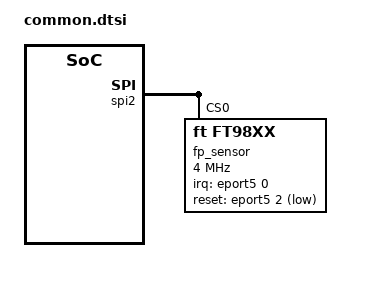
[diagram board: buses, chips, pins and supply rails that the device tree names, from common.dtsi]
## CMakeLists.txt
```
# Copyright 2025 The ChromiumOS Authors
# Use of this source code is governed by a BSD-style license that can be
# found in the LICENSE file.

zephyr_library_sources("src/ec_quirks.c")
zephyr_library_sources("src/platform.c")

if(DEFINED CONFIG_CROS_EC_RO)

add_library(config_page OBJECT src/config_page.c)
set_source_files_properties(src/config_page.c PROPERTIES
  COMPILE_OPTIONS $<TARGET_PROPERTY:compiler,prohibit_lto>
)

target_link_libraries(config_page PUBLIC zephyr_interface)
target_link_libraries(config_page PUBLIC cros_ec_interface)

add_custom_target(config_page_binary ALL
  COMMAND ${CMAKE_OBJCOPY} -Obinary --only-section .data.config_page
	$<TARGET_OBJECTS:config_page>
	${CMAKE_BINARY_DIR}/config_page.bin
  COMMENT "Generating binary with flash header"
  DEPENDS config_page
  VERBATIM
)

endif()
```

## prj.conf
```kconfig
# Copyright 2025 The ChromiumOS Authors
# Use of this source code is governed by a BSD-style license that can be
# found in the LICENSE file.

CONFIG_BOARD_FT9001=y

# The NULL pointer exception page size must be a power of two
# and have size greater or equal ARM_MPU_REGION_MIN_ALIGN_AND_SIZE
CONFIG_CORTEX_M_NULL_POINTER_EXCEPTION_PAGE_SIZE=0x80

# Peripherials
CONFIG_GPIO=y
CONFIG_PINCTRL=y
CONFIG_SPI_ASYNC=y
CONFIG_HWINFO=y
CONFIG_HWINFO_FOCALTECH=y

# Do not use partition for code, because the code locationb is different for RO and RW
CONFIG_USE_DT_CODE_PARTITION=n

#Bringup configs

# Power Management
CONFIG_PM=n
CONFIG_PM_DEVICE=n

# Logging
CONFIG_LOG_MODE_IMMEDIATE=n
CONFIG_LOG_PRINTK=n

# Shell commands
CONFIG_FLASH_SHELL=n

# MKBP
CONFIG_PLATFORM_EC_MKBP_USE_GPIO=n
CONFIG_PLATFORM_EC_MKBP_USE_USB=y

CONFIG_EC_HOST_CMD=y
# Enable USB for HC
CONFIG_UDC_DRIVER=y
CONFIG_USB_DEVICE_STACK_NEXT=y
# TODO determine a proper value
CONFIG_UDC_BUF_POOL_SIZE=2048

CONFIG_PLATFORM_EC_PANIC_STRIP_GPR=n

CONFIG_INIT_ARCH_HW_AT_BOOT=y
CONFIG_EXCEPTION_DEBUG=y
CONFIG_EXTRA_EXCEPTION_INFO=y

CONFIG_USB_DEVICE_MANUFACTURER="dawidn"
CONFIG_USB_DEVICE_PRODUCT="FPMCU"
CONFIG_USB_DEVICE_VID=0x18D1
CONFIG_USB_DEVICE_SELF_POWERED=n
CONFIG_USB_DEVICE_REMOTE_WAKEUP=y
CONFIG_USB_DEVICE_SN="0"
CONFIG_USB_DEVICE_SN_HWINFO=y
CONFIG_USB_DEVICE_MAX_POWER=250

# TODO determine a proper value
CONFIG_EC_HOST_CMD_HANDLER_RX_BUFFER_SIZE=528
CONFIG_EC_HOST_CMD_HANDLER_TX_BUFFER_SIZE=520

CONFIG_PLATFORM_EC_HOST_COMMAND_ENTER_BOOTLOADER=y
CONFIG_PLATFORM_EC_WP_CUSTOM=y

CONFIG_FP_ALGORITHM_TEMPLATE_SIZE=86016
```

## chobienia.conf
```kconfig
# Copyright 2025 The ChromiumOS Authors
# Use of this source code is governed by a BSD-style license that can be
# found in the LICENSE file.

# Template size for FT9849 sensor
CONFIG_USB_DEVICE_PID=0x5403
```

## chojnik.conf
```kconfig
# Copyright 2025 The ChromiumOS Authors
# Use of this source code is governed by a BSD-style license that can be
# found in the LICENSE file.

# Template size for FT9865 sensor
CONFIG_FP_ALGORITHM_TEMPLATE_SIZE=26624
CONFIG_USB_DEVICE_PID=0x5403
```

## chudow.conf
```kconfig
# Copyright 2025 The ChromiumOS Authors
# Use of this source code is governed by a BSD-style license that can be
# found in the LICENSE file.

# Template size for FT9869 sensor
CONFIG_USB_DEVICE_PID=0x5404
```

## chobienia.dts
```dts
/* Copyright 2025 The ChromiumOS Authors.
 * Use of this source code is governed by a BSD-style license that can be
 * found in the LICENSE file.
 */

#include "common.dtsi"

#define FT9849_COMMON_IMAGE_PROPS \
	width = <80>; \
	height = <128>; \
	bits-per-pixel = <8>; \
	frame-size = <10240>; \
	v4l2-pixel-format = "V4L2_PIX_FMT_GREY";

/ {
	chosen {
		cros-fp,fingerprint-memory-frame = &psram;
		cros-fp,fingerprint-memory-template = &psram;
	};
};

&fp_sensor {
	configs {
		compatible = "fingerprint-image-frame-params";
		config0 {
			FT9849_COMMON_IMAGE_PROPS
			capture-type = "FINGERPRINT_CAPTURE_TYPE_VENDOR_FORMAT";
		};
		config1 {
			FT9849_COMMON_IMAGE_PROPS
			capture-type = "FINGERPRINT_CAPTURE_TYPE_SIMPLE_IMAGE";
		};
		config2 {
			FT9849_COMMON_IMAGE_PROPS
			capture-type = "FINGERPRINT_CAPTURE_TYPE_PATTERN0";
		};
		config3 {
			FT9849_COMMON_IMAGE_PROPS
			capture-type = "FINGERPRINT_CAPTURE_TYPE_PATTERN1";
		};
		config4 {
			FT9849_COMMON_IMAGE_PROPS
			capture-type = "FINGERPRINT_CAPTURE_TYPE_QUALITY_TEST";
		};
		config5 {
			FT9849_COMMON_IMAGE_PROPS
			capture-type = "FINGERPRINT_CAPTURE_TYPE_RESET_TEST";
		};
	};
};
```

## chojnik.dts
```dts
/* Copyright 2025 The ChromiumOS Authors.
 * Use of this source code is governed by a BSD-style license that can be
 * found in the LICENSE file.
 */

#include "common.dtsi"

#define FT9865_COMMON_IMAGE_PROPS \
	width = <64>; \
	height = <80>; \
	bits-per-pixel = <8>; \
	frame-size = <5120>; \
	v4l2-pixel-format = "V4L2_PIX_FMT_GREY";

&fp_sensor {
	configs {
		compatible = "fingerprint-image-frame-params";
		config0 {
			FT9865_COMMON_IMAGE_PROPS
			capture-type = "FINGERPRINT_CAPTURE_TYPE_VENDOR_FORMAT";
		};
		config1 {
			FT9865_COMMON_IMAGE_PROPS
			capture-type = "FINGERPRINT_CAPTURE_TYPE_SIMPLE_IMAGE";
		};
		config2 {
			FT9865_COMMON_IMAGE_PROPS
			capture-type = "FINGERPRINT_CAPTURE_TYPE_PATTERN0";
		};
		config3 {
			FT9865_COMMON_IMAGE_PROPS
			capture-type = "FINGERPRINT_CAPTURE_TYPE_PATTERN1";
		};
		config4 {
			FT9865_COMMON_IMAGE_PROPS
			capture-type = "FINGERPRINT_CAPTURE_TYPE_QUALITY_TEST";
		};
		config5 {
			FT9865_COMMON_IMAGE_PROPS
			capture-type = "FINGERPRINT_CAPTURE_TYPE_RESET_TEST";
		};
	};
};
```

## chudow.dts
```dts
/* Copyright 2025 The ChromiumOS Authors.
 * Use of this source code is governed by a BSD-style license that can be
 * found in the LICENSE file.
 */

#include "common.dtsi"

#define FT9869_COMMON_IMAGE_PROPS \
	width = <40>; \
	height = <196>; \
	bits-per-pixel = <8>; \
	frame-size = <7840>; \
	v4l2-pixel-format = "V4L2_PIX_FMT_GREY";

/ {
	chosen {
		cros-fp,fingerprint-memory-frame = &psram;
		cros-fp,fingerprint-memory-template = &psram;
	};
};

&fp_sensor {
	configs {
		compatible = "fingerprint-image-frame-params";
		config0 {
			FT9869_COMMON_IMAGE_PROPS
			capture-type = "FINGERPRINT_CAPTURE_TYPE_VENDOR_FORMAT";
		};
		config1 {
			FT9869_COMMON_IMAGE_PROPS
			capture-type = "FINGERPRINT_CAPTURE_TYPE_SIMPLE_IMAGE";
		};
		config2 {
			FT9869_COMMON_IMAGE_PROPS
			capture-type = "FINGERPRINT_CAPTURE_TYPE_PATTERN0";
		};
		config3 {
			FT9869_COMMON_IMAGE_PROPS
			capture-type = "FINGERPRINT_CAPTURE_TYPE_PATTERN1";
		};
		config4 {
			FT9869_COMMON_IMAGE_PROPS
			capture-type = "FINGERPRINT_CAPTURE_TYPE_QUALITY_TEST";
		};
		config5 {
			FT9869_COMMON_IMAGE_PROPS
			capture-type = "FINGERPRINT_CAPTURE_TYPE_RESET_TEST";
		};
	};
};
```

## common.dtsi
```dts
/* Copyright 2025 The ChromiumOS Authors.
 * Use of this source code is governed by a BSD-style license that can be
 * found in the LICENSE file.
 */

#include <ft/ft90/common_priv.dtsi>

#include "soc.dtsi"
#include "gpio.dtsi"
#include "rwsig.dtsi"

#include <cros/integrated_fwid.dtsi>

/ {
	chosen {
		cros-fp,fingerprint-sensor = &fp_sensor;
		/* Reference the flash header not to omit it. */
		flash-header = &flash_header;
	};

	named-bbram-regions {
		compatible = "named-bbram-regions";

		scratchpad {
			offset = <0x00>;
			size = <0x02>;
		};
		saved-reset-flags {
			offset = <0x02>;
			size = <0x04>;
		};
		saved-panic-reason {
			offset = <0x06>;
			size = <0x02>;
		};
		saved-panic-info {
			offset = <0x08>;
			size = <0x02>;
		};
		saved-panic-exception {
			offset = <0x0a>;
			size = <0x02>;
		};
		saved-panic-flags {
			offset = <0x0c>;
			size = <0x02>;
		};
	};

	binman {
		/* The first 4kB of the flash is reserved for the config page */
		wp-ro {
			offset = <0x0>;
			size = <0x80000>;
			flash-header {
				offset = <0x0>;
				size = <0x1000>;
				type = "blob";
				filename = "../build-ro/config_page.bin";
				pad-byte = <0xff>;
			};
			ec-ro {
				offset = <0x1000>;
				size = <0x7f000>;
				ro-checksum {
					compatible = "cros-ec,flash-layout";
					type = "section";
					offset = <(0x7f000 - 32)>;
					size = <32>;
					pad-byte = <0xff>;
				};
				pad-byte = <0xff>;
			};
		};

		rollback0 {
			offset = <0x80000>;
			size = <0x1000>;
			type = "blob";
			filename = "../build-rw/rollback_initial_data.bin";
		};

		rollback1 {
			offset = <0x81000>;
			size = <0x1000>;
			type = "blob";
			filename = "../build-rw/rollback_initial_data.bin";
		};

		ec-rw {
			offset = <0x82000>;
			size = <0x7e000>;
			rw-fw {
				/*
				 * Clang doesn't emit STT_SECTION symbols (also
				 * called 'section symbols'), so 'rom_start'
				 * symbol is not available. Fortunately, Zephyr
				 * linker scripts provide '__rom_start_address'
				 * symbol which points to the beginning of
				 * 'rom_start' section.
				 */
				zephyr-rw {
					elf-base-sym = "__rom_start_address";
				};
			};
		};
		pad-byte = <0xff>;
	};
};

&flash0 {
	partitions {
		compatible = "fixed-partitions";
		#address-cells = <1>;
		#size-cells = <1>;

		bootloader: partition@0 {
			label = "bootloader";
			reg = <0x0 DT_SIZE_K(512)>;
		};

		rollback0: partition@100000 {
			label = "rollback0";
			reg = <0x100000 DT_SIZE_K(4)>;
		};

		rollback1: partition@101000 {
			label = "rollback1";
			reg = <0x101000 DT_SIZE_K(4)>;
		};
	};
};

&spi2 {
	fp_sensor: ft98xx@0 {
		compatible = "ft,ft98xx";
		reg = <0>;
		spi-max-frequency = <4000000>;

		irq-gpios = <&eport5 0 (GPIO_ACTIVE_HIGH | GPIO_PULL_DOWN)>;
		reset-gpios = <&eport5 2 GPIO_ACTIVE_LOW>;
	};
};
```

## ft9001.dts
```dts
/* Copyright 2025 The ChromiumOS Authors.
 * Use of this source code is governed by a BSD-style license that can be
 * found in the LICENSE file.
 */

#include "soc.dtsi"
#include "gpio.dtsi"
#include "rwsig.dtsi"

#include <cros/integrated_fwid.dtsi>

/ {
	chosen {
		cros-fp,fingerprint-sensor = &fp_sensor;
		/* Reference the flash header not to omit it. */
		flash-header = &flash_header;
	};

	named-bbram-regions {
		compatible = "named-bbram-regions";

		scratchpad {
			offset = <0x00>;
			size = <0x02>;
		};
		saved-reset-flags {
			offset = <0x02>;
			size = <0x04>;
		};
		saved-panic-reason {
			offset = <0x06>;
			size = <0x02>;
		};
		saved-panic-info {
			offset = <0x08>;
			size = <0x02>;
		};
		saved-panic-exception {
			offset = <0x0a>;
			size = <0x02>;
		};
		saved-panic-flags {
			offset = <0x0c>;
			size = <0x02>;
		};
	};

	binman {
		flash-header {
			offset = <0x0>;
			size = <0x1000>;
			type = "blob";
			filename = "../build-ro/config_page.bin";
			pad-byte = <0xff>;
		};
		/* The first 4kB of the flash is reserved for the config page */
		wp-ro {
			offset = <0x1000>;
			size = <0x7d000>;
			ec-ro {
				ro-checksum {
					compatible = "cros-ec,flash-layout";
					type = "section";
					offset = <(0x7d000 - 32)>;
					size = <32>;
					pad-byte = <0xff>;
				};
				pad-byte = <0xff>;
			};
		};

		rollback0 {
			offset = <0x7e000>;
			size = <0x1000>;
			type = "blob";
			filename = "../build-rw/rollback_initial_data.bin";
		};

		rollback1 {
			offset = <0x7f000>;
			size = <0x1000>;
			type = "blob";
			filename = "../build-rw/rollback_initial_data.bin";
		};

		ec-rw {
			offset = <0x80000>;
			size = <0x80000>;
			rw-fw {
				/*
				 * Clang doesn't emit STT_SECTION symbols (also
				 * called 'section symbols'), so 'rom_start'
				 * symbol is not available. Fortunately, Zephyr
				 * linker scripts provide '__rom_start_address'
				 * symbol which points to the beginning of
				 * 'rom_start' section.
				 */
				zephyr-rw {
					elf-base-sym = "__rom_start_address";
				};
			};
		};
		pad-byte = <0xff>;
	};
};

&flash0 {
	partitions {
		compatible = "fixed-partitions";
		#address-cells = <1>;
		#size-cells = <1>;

		rollback0: partition@7e000 {
			label = "rollback0";
			reg = <0x7e000 DT_SIZE_K(4)>;
		};

		rollback1: partition@7f000 {
			label = "rollback1";
			reg = <0x7f000 DT_SIZE_K(4)>;
		};
	};
};

&spi2 {
	fp_sensor: ft9865@0 {
		compatible = "ft,ft9865";
		reg = <0>;
		spi-max-frequency = <6000000>;

		width = <64>;
		height = <80>;
		bits-per-pixel = <8>;
		v4l2-pixel-format = "V4L2_PIX_FMT_GREY";

		irq-gpios = <&eport5 0 (GPIO_ACTIVE_HIGH | GPIO_PULL_DOWN)>;
		reset-gpios = <&eport5 2 GPIO_ACTIVE_LOW>;
	};
};
```

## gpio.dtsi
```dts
/* Copyright 2025 The ChromiumOS Authors.
 * Use of this source code is governed by a BSD-style license that can be
 * found in the LICENSE file.
 */

#include <dt-bindings/gpio_defines.h>

/ {
	named-gpios {
		compatible = "named-gpios";

		/* unimplemented GPIOs */
		entering-rw {
			enum-name = "GPIO_ENTERING_RW";
		};
	};
};
```

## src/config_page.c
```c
/* Copyright 2023 The ChromiumOS Authors
 * Use of this source code is governed by a BSD-style license that can be
 * found in the LICENSE file.
 */

#include <zephyr/toolchain.h>
#include <stdint.h>
#include <stddef.h>

struct ft_config_page {
	uint32_t code_valid_control_word; /* 0x3AEC3721 for valid code */
	uint8_t reserved_04_18[0x14];
	uint32_t config_page_verification_enable; /* 0x904E3C21 for valid code */
	uint8_t reserved_1B_20[0x4];
	uint32_t code_start_address;
	uint32_t code_length;
	uint8_t reserved_28_40[0x18];
	uint8_t code_sig[256]; /* RSA2048 code signature */
	uint8_t config_page_hash[32]; /* SHA256 of the config page */
	uint8_t reserved_160_1F4[0x94]; /* RSA2048 code signature */
	uint32_t config_page_location; /* 0x301821EF for OTP */
	uint8_t reserved_1F8_200[0x8];
} __packed;

/* TODO - move to chip code. */
struct ft_config_page config_page = {
	.code_valid_control_word = 0x3AEC3721,
	.reserved_04_18 = {0xff, 0xff, 0xff, 0xff, 0xff, 0xff, 0xff, 0xff, 0xff, 0xff, 0xff, 0xff, 0xff, 0xff, 0xff, 0xff, 0xff, 0xff, 0xff, 0xff},
	.config_page_verification_enable = 0xffffffff,
	.reserved_1B_20 = {0xff, 0xff, 0xff, 0xff},
	.code_start_address = CONFIG_FLASH_BASE_ADDRESS + CONFIG_CROS_EC_RO_MEM_OFF,
	.code_length = CONFIG_CROS_EC_RO_SIZE - 32, /* Size of RO, but without SHA256 checksum */
	.reserved_28_40 = {0xff, 0xff, 0xff, 0xff, 0xff, 0xff, 0xff, 0xff, 0xff, 0xff, 0xff, 0xff, 0xff, 0xff, 0xff, 0xff, 0xff, 0xff, 0xff, 0xff, 0xff, 0xff, 0xff, 0xff},
	.code_sig = {0xff, 0xff, 0xff, 0xff, 0xff, 0xff, 0xff, 0xff, 0xff, 0xff, 0xff, 0xff, 0xff, 0xff, 0xff, 0xff, 0xff, 0xff, 0xff, 0xff, 0xff, 0xff, 0xff, 0xff, 0xff, 0xff, 0xff, 0xff, 0xff, 0xff, 0xff, 0xff, 0xff, 0xff, 0xff, 0xff, 0xff, 0xff, 0xff, 0xff, 0xff, 0xff, 0xff, 0xff, 0xff, 0xff, 0xff, 0xff, 0xff, 0xff, 0xff, 0xff, 0xff, 0xff, 0xff, 0xff, 0xff, 0xff, 0xff, 0xff, 0xff, 0xff, 0xff, 0xff, 0xff, 0xff, 0xff, 0xff, 0xff, 0xff, 0xff, 0xff, 0xff, 0xff, 0xff, 0xff, 0xff, 0xff, 0xff, 0xff, 0xff, 0xff, 0xff, 0xff, 0xff, 0xff, 0xff, 0xff, 0xff, 0xff, 0xff, 0xff, 0xff, 0xff, 0xff, 0xff, 0xff, 0xff, 0xff, 0xff, 0xff, 0xff, 0xff, 0xff, 0xff, 0xff, 0xff, 0xff, 0xff, 0xff, 0xff, 0xff, 0xff, 0xff, 0xff, 0xff, 0xff, 0xff, 0xff, 0xff, 0xff, 0xff, 0xff, 0xff, 0xff, 0xff, 0xff, 0xff, 0xff, 0xff, 0xff, 0xff, 0xff, 0xff, 0xff, 0xff, 0xff, 0xff, 0xff, 0xff, 0xff, 0xff, 0xff, 0xff, 0xff, 0xff, 0xff, 0xff, 0xff, 0xff, 0xff, 0xff, 0xff, 0xff, 0xff, 0xff, 0xff, 0xff, 0xff, 0xff, 0xff, 0xff, 0xff, 0xff, 0xff, 0xff, 0xff, 0xff, 0xff, 0xff, 0xff, 0xff, 0xff, 0xff, 0xff, 0xff, 0xff, 0xff, 0xff, 0xff, 0xff, 0xff, 0xff, 0xff, 0xff, 0xff, 0xff, 0xff, 0xff, 0xff, 0xff, 0xff, 0xff, 0xff, 0xff, 0xff, 0xff, 0xff, 0xff, 0xff, 0xff, 0xff, 0xff, 0xff, 0xff, 0xff, 0xff, 0xff, 0xff, 0xff, 0xff, 0xff, 0xff, 0xff, 0xff, 0xff, 0xff, 0xff, 0xff, 0xff, 0xff, 0xff, 0xff, 0xff, 0xff, 0xff, 0xff, 0xff, 0xff, 0xff, 0xff, 0xff, 0xff, 0xff, 0xff, 0xff, 0xff, 0xff, 0xff, 0xff, 0xff, 0xff, 0xff, 0xff, 0xff, 0xff, 0xff, 0xff, 0xff, 0xff, 0xff, 0xff, 0xff, 0xff, 0xff, 0xff},
	.config_page_hash = {0xff, 0xff, 0xff, 0xff, 0xff, 0xff, 0xff, 0xff, 0xff, 0xff, 0xff, 0xff, 0xff, 0xff, 0xff, 0xff, 0xff, 0xff, 0xff, 0xff, 0xff, 0xff, 0xff, 0xff, 0xff, 0xff, 0xff, 0xff, 0xff, 0xff, 0xff, 0xff},
	/* Values get from dumped flash. No jump to RO without it. */
	.reserved_160_1F4 = {0x66, 0x99, 0x38, 0xc0, 0xeb, 0x0c, 0xff, 0xff, 0xff, 0xff, 0xff, 0xff, 0xff, 0xff, 0xff, 0xff, 0x02, 0x02, 0x21, 0x04, 0xff, 0xff, 0xff, 0xff, 0xff, 0xff, 0xff, 0xff, 0xff, 0xff, 0xff, 0xff, 0xff, 0xff, 0xff, 0xff, 0xff, 0xff, 0xff, 0xff, 0xff, 0xff, 0xff, 0xff, 0xff, 0xff, 0xff, 0xff, 0xff, 0xff, 0xff, 0xff, 0xff, 0xff, 0xff, 0xff, 0xff, 0xff, 0xff, 0xff, 0xff, 0xff, 0xff, 0xff, 0xff, 0xff, 0xff, 0xff, 0xff, 0xff, 0xff, 0xff, 0xff, 0xff, 0xff, 0xff, 0xff, 0xff, 0xff, 0xff, 0xff, 0xff, 0xff, 0xff, 0xff, 0xff, 0xff, 0xff, 0xff, 0xff, 0xff, 0xff, 0xff, 0xff, 0xff, 0xff, 0xff, 0xff, 0xff, 0xff, 0xff, 0xff, 0xff, 0xff, 0xff, 0xff, 0xff, 0xff, 0xff, 0xff, 0xff, 0xff, 0xff, 0xff, 0xff, 0xff, 0xff, 0xff, 0xff, 0xff, 0xff, 0xff, 0xff, 0xff, 0xff, 0xff, 0xff, 0xff, 0xff, 0xff, 0xff, 0xff, 0xff, 0xff, 0xff, 0xff, 0xff, 0xff, 0xff, 0xff, 0xff, 0xff, 0xff, 0xff, 0xff, 0xff, 0xff, 0xff},
	.config_page_location = 0xffffffff,
	.reserved_1F8_200 = {0xff, 0xff, 0xff, 0xff, 0xff, 0xff, 0xff, 0xff},
};
```

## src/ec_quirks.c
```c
/* Copyright 2025 The ChromiumOS Authors
 * Use of this source code is governed by a BSD-style license that can be
 * found in the LICENSE file.
 */

#include <zephyr/init.h>
#include <zephyr/kernel.h>
#include "hooks.h"
#include "hwtimer.h"

extern void arm_core_mpu_disable(void);

// TODO without that, coping the ramfunc fails. The CONFIG_INIT_ARCH_HW_AT_BOOT=y should handle that but it doesn't
static void prepare_for_sysjump_to_ec(void)
{
	arm_core_mpu_disable();
}
DECLARE_HOOK(HOOK_SYSJUMP, prepare_for_sysjump_to_ec, HOOK_PRIO_LAST);
```

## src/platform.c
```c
/* Copyright 2025 The ChromiumOS Authors
 * Use of this source code is governed by a BSD-style license that can be
 * found in the LICENSE file.
 */

#include "system.h"

int write_protect_is_asserted_custom(void)
{
	return 0;
}
```

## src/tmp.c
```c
/* Copyright 2025 The ChromiumOS Authors
 * Use of this source code is governed by a BSD-style license that can be
 * found in the LICENSE file.
 */

#include <zephyr/init.h>
#include <zephyr/kernel.h>
#include "hooks.h"
#include "hwtimer.h"

extern void arm_core_mpu_disable(void);

int mkbp_set_host_active_via_custom(int active, uint32_t *timestamp)
{
	if (active) {
		ec_host_cmd_backend_usb_trigger_event();
	}
	// *timestamp = __hw_clock_source_read();

	return EC_SUCCESS;
}

// TODO without that, coping the ramfunc fails. The CONFIG_INIT_ARCH_HW_AT_BOOT=y should handle that but it doesn't
static void prepare_for_sysjump_to_ec(void)
{
	arm_core_mpu_disable();
}
DECLARE_HOOK(HOOK_SYSJUMP, prepare_for_sysjump_to_ec, HOOK_PRIO_LAST);
```
